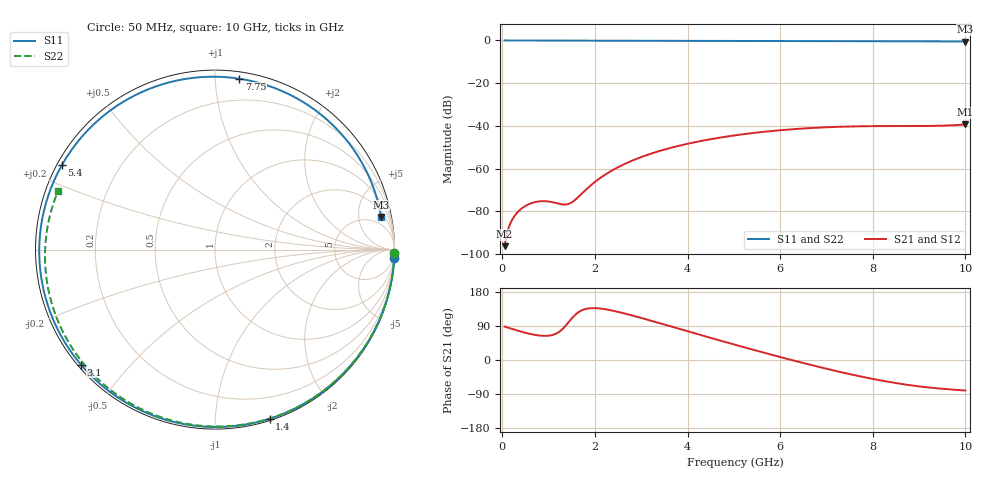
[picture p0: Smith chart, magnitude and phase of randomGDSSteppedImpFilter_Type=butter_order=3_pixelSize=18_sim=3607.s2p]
! freq	dB(S11)	phase(S11)	dB(S12)	phase(S12)
!  dB(S21)	phase(S21)	dB(S22)	phase(S22)
!S-par simulation data
#  GHz  S  DB  R 50
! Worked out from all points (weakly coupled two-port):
!   200 points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, 50 MHz to 10 GHz, reference 50 ohm
!   highest |S21| = -39.31 dB at 10 GHz (marker M1); lowest = -96.2 dB at 50 MHz (marker M2)
!   lowest |S11| = -0.5 dB at 10 GHz (marker M3), VSWR 34.20, Z = 143 + j471 ohm
!   |S11| at or under -10 dB: nowhere
!   |S22| runs from -0.6 to 0.0 dB; largest |S21 - S12| = 0
!   S11 on the Smith chart (normalised r, x): 50 MHz: 0, -42; 1.4 GHz: 0.01, -1.37; 3.1 GHz: 0.01, -0.37; 5.4 GHz: 0.01, +0.26; 7.75 GHz: 0.05, +1.15; 10 GHz: 2.86, +9.43
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0.05  -0.00 -2.8  -96.24 88.1  -96.24 88.1  -0.00 -1.2
0.35  -0.03 -19.0  -79.92 76.9  -79.92 76.9  -0.01 -8.2
0.55  -0.04 -29.7  -76.84 70.3  -76.84 70.3  -0.02 -12.8
0.8  -0.05 -42.7  -75.28 64.6  -75.28 64.6  -0.02 -18.6
1.1  -0.07 -57.8  -75.73 66.6  -75.73 66.6  -0.03 -25.4
1.4  -0.08 -72.1  -76.68 95.0  -76.68 95.0  -0.04 -32.2
1.55  -0.09 -79.0  -74.98 116.4  -74.98 116.4  -0.05 -35.6
1.75  -0.10 -87.8  -70.96 132.8  -70.96 132.8  -0.05 -40.1
2.05  -0.11 -100.4  -65.36 136.6  -65.36 136.6  -0.06 -46.7
2.35  -0.12 -112.3  -61.06 131.1  -61.06 131.1  -0.07 -53.2
3.1  -0.14 -139.3  -53.77 107.5  -53.77 107.5  -0.09 -69.2
3.4  -0.15 -149.3  -51.68 97.1  -51.68 97.1  -0.10 -75.4
4.2  -0.18 -174.1  -47.42 68.8  -47.42 68.8  -0.13 -91.4
5.05  -0.21 161.1  -44.31 39.4  -44.31 39.4  -0.16 -107.8
5.4  -0.22 151.1  -43.34 27.6  -43.34 27.6  -0.18 -114.4
6.1  -0.26 131.0  -41.82 4.6  -41.82 4.6  -0.22 -127.3
6.7  -0.29 113.5  -40.93 -14.1  -40.93 -14.1  -0.26 -138.2
7.25  -0.31 97.1  -40.41 -30.3  -40.41 -30.3  -0.31 -148.2
7.75  -0.34 81.9  -40.15 -43.8  -40.15 -43.8  -0.35 -157.3
8.35  -0.37 63.2  -40.04 -57.8  -40.04 -57.8  -0.41 -168.3
9.25  -0.43 34.7  -39.98 -73.1  -39.98 -73.1  -0.51 174.6
10  -0.51 11.1  -39.31 -80.4  -39.31 -80.4  -0.60 159.7
